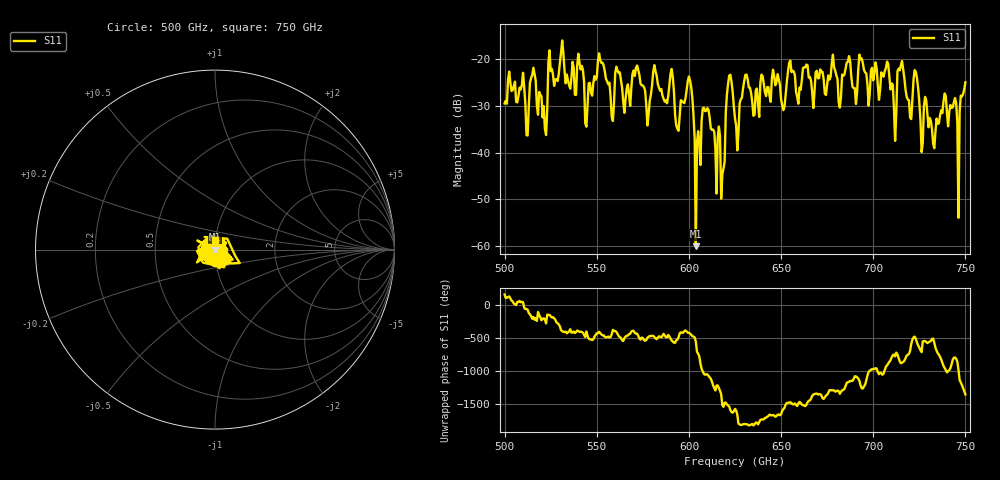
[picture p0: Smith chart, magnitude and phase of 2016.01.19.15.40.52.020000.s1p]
!Created with skrf (http://scikit-rf.org).
# GHz S RI R 50.0
!freq ReS11 ImS11
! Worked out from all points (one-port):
!   401 points, 500 GHz to 750 GHz, reference 50 ohm
!   lowest |S11| = -60.0 dB at 603.8 GHz (marker M1), VSWR 1.00, Z = 49.9 + j0.0162 ohm
!   |S11| at or under -10 dB: start of sweep to end of sweep
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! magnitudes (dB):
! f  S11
! 500 GHz  -29.5
! 512.5 GHz  -36.4
! 515.6 GHz  -21.9
! 521.9 GHz  -35.0
! 525 GHz  -22.6
! 531.2 GHz  -16.1
! 544.4 GHz  -34.5
! 551.9 GHz  -20.2
! 558.1 GHz  -32.5
! 562.5 GHz  -22.9
! 578.1 GHz  -31.8
! 590.6 GHz  -22.2
! 593.8 GHz  -35.0
! 600.6 GHz  -24.6
! 603.8 GHz  -60.0
! 609.4 GHz  -31.1
! 618.1 GHz  -44.7
! 621.9 GHz  -23.6
! 625 GHz  -32.7
! 630.6 GHz  -23.4
! 651.2 GHz  -31.0
! 656.2 GHz  -22.6
! 687.5 GHz  -20.6
! 711.2 GHz  -30.8
! 715 GHz  -21.4
! 718.8 GHz  -28.7
! 745.6 GHz  -33.6
! 750 GHz  -25.0
